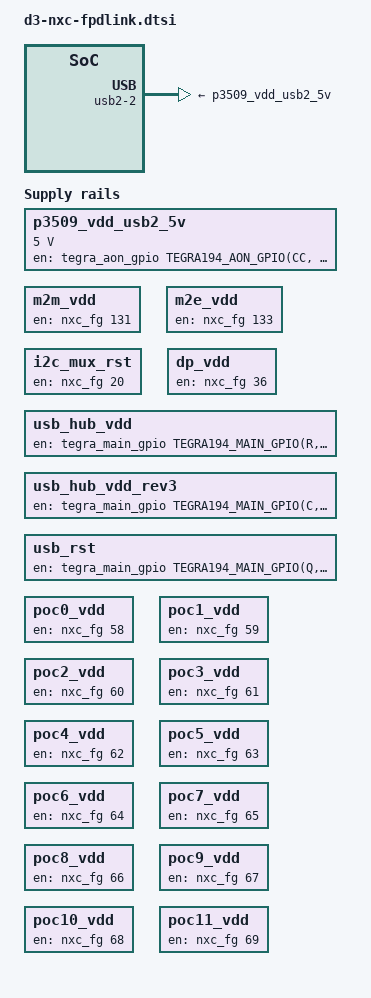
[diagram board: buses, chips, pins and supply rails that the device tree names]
/*
 * Copyright (c) 2020, D3 Engineering.	All rights reserved.
 *
 * This program is free software; you can redistribute it and/or modify
 * it under the terms of the GNU General Public License as published by
 * the Free Software Foundation; version 2 of the License.
 *
 * This program is distributed in the hope that it will be useful, but WITHOUT
 * ANY WARRANTY; without even the implied warranty of MERCHANTABILITY or
 * FITNESS FOR A PARTICULAR PURPOSE.  See the GNU General Public License for
 * more details.
 */

#include "d3-nxc.dtsi"

&camera_platform {
	num_csi_lanes = <12>;
};

&vi_base {
	num-channels = <12>;
};

&csi_base {
	num-channels = <12>;
};
/{
	gpio@c2f0000
	{
		/delete-node/ w-disable1;
	};
};
/{
	fixed-regulators {
		p3509_vdd_usb2_5v: regulator@114 {
			compatible = "regulator-fixed";
			reg = <114>;
			regulator-name = "vdd-usb2-5v";
			regulator-min-microvolt = <5000000>;
			regulator-max-microvolt = <5000000>;
			gpio = <&tegra_aon_gpio TEGRA194_AON_GPIO(CC, 2) GPIO_ACTIVE_HIGH>;
			enable-active-high;
		};
		m2m_vdd: regulator@400 {
			status = "okay";
			reg = <0x190>;
			regulator-name = "m2m_vdd";
			compatible = "regulator-fixed";
			regulator-always-on;
			gpio = <&nxc_fg 131 GPIO_ACTIVE_LOW>;
			enable-active-high;
			regulator-boot-on;

		};
		m2e_vdd: regulator@401 {
			status = "okay";
			reg = <0x191>;
			regulator-name = "m2e_vdd";
			compatible = "regulator-fixed";
			regulator-always-on;
			gpio = <&nxc_fg 133 GPIO_ACTIVE_LOW>;
			enable-active-high;
			regulator-boot-on;

		};
		i2c_mux_rst: regulator@402 {
			status = "okay";
			reg = <0x192>;
			regulator-name = "i2c_mux_rst";
			compatible = "regulator-fixed";
			regulator-always-on;
			gpio = <&nxc_fg 20 GPIO_ACTIVE_LOW>;
			enable-active-high;

		};
		dp_vdd: regulator@404 {
			status = "okay";
			reg = <0x194>;
			regulator-name = "dp_vdd";
			compatible = "regulator-fixed";
			regulator-always-on;
			gpio = <&nxc_fg 36 GPIO_ACTIVE_LOW>;
			enable-active-high;

		};
		/* This GPIO is passed through BUF_IO_3 to control the USB
		 * Hub as per the rework on rev 2.1 boards */
		usb_hub_vdd: regulator@405 {
			status = "okay";
			reg = <0x195>;
			regulator-name = "usb_hub_vdd";
			compatible = "regulator-fixed";
			regulator-always-on;
			gpio = <&tegra_main_gpio TEGRA194_MAIN_GPIO(R,0) GPIO_ACTIVE_LOW>;
			enable-active-high;
		};
		/* This GPIO is passed though to USB VDD on rev 3+ boards*/
		usb_hub_vdd_rev3: regulator@406 {
			status = "okay";
			reg = <0x196>;
			regulator-name = "usb_hub_vdd_rev3";
			compatible = "regulator-fixed";
			regulator-always-on;
			gpio = <&tegra_main_gpio TEGRA194_MAIN_GPIO(C,2) GPIO_ACTIVE_LOW>;
			enable-active-high;
		};
		usb_rst: regulator@500 {
			status = "okay";
			reg = <0x1F4>;
			regulator-name = "usb_rst";
			compatible = "regulator-fixed";
			regulator-always-on;
			gpio = <&tegra_main_gpio TEGRA194_MAIN_GPIO(Q,1) GPIO_ACTIVE_LOW>;
			enable-active-high;
		};
		poc0_vdd: regulator@410 {
			status = "okay";
			reg = <0x19a>;
			regulator-name = "poc0_vdd";
			compatible = "regulator-fixed";
			regulator-always-on;
			gpio = <&nxc_fg 58 GPIO_ACTIVE_LOW>;
			enable-active-high;
		};
		poc1_vdd: regulator@411 {
			status = "okay";
			reg = <0x19b>;
			regulator-name = "poc1_vdd";
			compatible = "regulator-fixed";
			regulator-always-on;
			gpio = <&nxc_fg 59 GPIO_ACTIVE_LOW>;
			enable-active-high;
		};
		poc2_vdd: regulator@412 {
			status = "okay";
			reg = <0x19c>;
			regulator-name = "poc2_vdd";
			compatible = "regulator-fixed";
			regulator-always-on;
			gpio = <&nxc_fg 60 GPIO_ACTIVE_LOW>;
			enable-active-high;
		};
		poc3_vdd: regulator@413 {
			status = "okay";
			reg = <0x19d>;
			regulator-name = "poc3_vdd";
			compatible = "regulator-fixed";
			regulator-always-on;
			gpio = <&nxc_fg 61 GPIO_ACTIVE_LOW>;
			enable-active-high;
		};
		poc4_vdd: regulator@414 {
			status = "okay";
			reg = <0x19e>;
			regulator-name = "poc4_vdd";
			compatible = "regulator-fixed";
			regulator-always-on;
			gpio = <&nxc_fg 62 GPIO_ACTIVE_LOW>;
			enable-active-high;
		};
		poc5_vdd: regulator@415 {
			status = "okay";
			reg = <0x19f>;
			regulator-name = "poc5_vdd";
			compatible = "regulator-fixed";
			regulator-always-on;
			gpio = <&nxc_fg 63 GPIO_ACTIVE_LOW>;
			enable-active-high;
		};
		poc6_vdd: regulator@416 {
			status = "okay";
			reg = <0x1a0>;
			regulator-name = "poc6_vdd";
			compatible = "regulator-fixed";
			regulator-always-on;
			gpio = <&nxc_fg 64 GPIO_ACTIVE_LOW>;
			enable-active-high;
		};
		poc7_vdd: regulator@417 {
			status = "okay";
			reg = <0x1a1>;
			regulator-name = "poc7_vdd";
			compatible = "regulator-fixed";
			regulator-always-on;
			gpio = <&nxc_fg 65 GPIO_ACTIVE_LOW>;
			enable-active-high;
		};
		poc8_vdd: regulator@418 {
			status = "okay";
			reg = <0x1a2>;
			regulator-name = "poc8_vdd";
			compatible = "regulator-fixed";
			regulator-always-on;
			gpio = <&nxc_fg 66 GPIO_ACTIVE_LOW>;
			enable-active-high;
		};
		poc9_vdd: regulator@419 {
			status = "okay";
			reg = <0x1a3>;
			regulator-name = "poc9_vdd";
			compatible = "regulator-fixed";
			regulator-always-on;
			gpio = <&nxc_fg 67 GPIO_ACTIVE_LOW>;
			enable-active-high;
		};
		poc10_vdd: regulator@420 {
			status = "okay";
			reg = <0x1a4>;
			regulator-name = "poc10_vdd";
			compatible = "regulator-fixed";
			regulator-always-on;
			gpio = <&nxc_fg 68 GPIO_ACTIVE_LOW>;
			enable-active-high;
		};
		poc11_vdd: regulator@421 {
			status = "okay";
			reg = <0x1a5>;
			regulator-name = "poc11_vdd";
			compatible = "regulator-fixed";
			regulator-always-on;
			gpio = <&nxc_fg 69 GPIO_ACTIVE_LOW>;
			enable-active-high;
		};
	};
};
/{
	xusb_padctl@3520000 {
		ports {
			usb2-2 {
				mode = "host";
				vbus-supply = <&p3509_vdd_usb2_5v>;
				status = "okay";
			};
		};
	};
};
